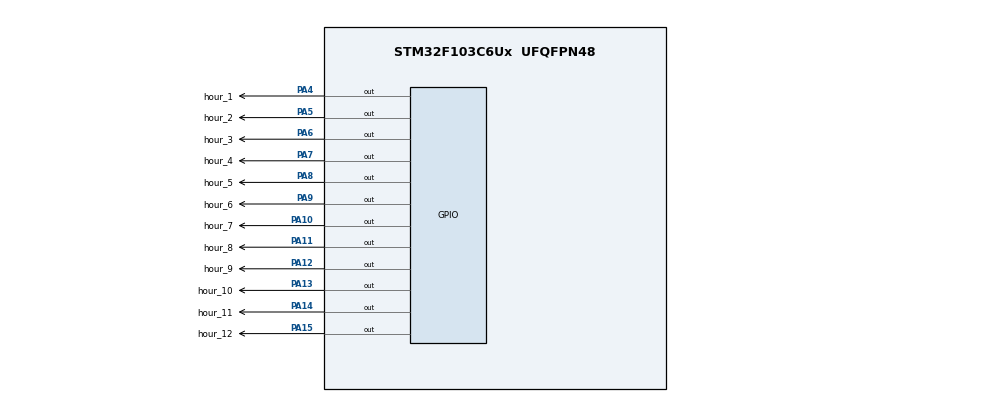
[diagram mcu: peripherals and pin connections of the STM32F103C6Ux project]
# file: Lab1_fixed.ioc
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Mcu.Family=STM32F1
Mcu.Name=STM32F103C6Ux
Mcu.Package=UFQFPN48
NVIC.PriorityGroup=NVIC_PRIORITYGROUP_4
PA10.GPIO_Label=hour_7
PA10.Signal=GPIO_Output
PA11.GPIO_Label=hour_8
PA11.Signal=GPIO_Output
PA12.GPIO_Label=hour_9
PA12.Signal=GPIO_Output
PA13.GPIO_Label=hour_10
PA13.Signal=GPIO_Output
PA14.GPIO_Label=hour_11
PA14.Signal=GPIO_Output
PA15.GPIO_Label=hour_12
PA15.Signal=GPIO_Output
PA4.GPIO_Label=hour_1
PA4.Signal=GPIO_Output
PA5.GPIO_Label=hour_2
PA5.Signal=GPIO_Output
PA6.GPIO_Label=hour_3
PA6.Signal=GPIO_Output
PA7.GPIO_Label=hour_4
PA7.Signal=GPIO_Output
PA8.GPIO_Label=hour_5
PA8.Signal=GPIO_Output
PA9.GPIO_Label=hour_6
PA9.Signal=GPIO_Output
ProjectManager.HeapSize=0x200
ProjectManager.StackSize=0x400
ProjectManager.TargetToolchain=STM32CubeIDE
RCC.APB1Freq_Value=8000000
RCC.APB2Freq_Value=8000000
VP_SYS_VS_ND.Mode=No_Debug
board=custom

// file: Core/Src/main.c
/* USER CODE BEGIN Header */
/**
  ******************************************************************************
  * @file           : main.c
  * @brief          : Main program body
  ******************************************************************************
  * @attention
  *
  * <h2><center>&copy; Copyright (c) 2023 STMicroelectronics.
  * All rights reserved.</center></h2>
  *
  * This software component is licensed by ST under BSD 3-Clause license,
  * the "License"; You may not use this file except in compliance with the
  * License. You may obtain a copy of the License at:
  *                        opensource.org/licenses/BSD-3-Clause
  *
  ******************************************************************************
  */
/* USER CODE END Header */
#include "main.h"

void SystemClock_Config(void);
static void MX_GPIO_Init(void);

/* USER CODE BEGIN 0 */
// Ex 8: -------------------------------------------------------------------------------------
void setNumberOnClock(int num){
	switch(num){
	case 0:
		HAL_GPIO_WritePin(GPIOA, GPIO_PIN_15, GPIO_PIN_RESET);
		break;

	case 1:
		HAL_GPIO_WritePin(GPIOA, GPIO_PIN_4, GPIO_PIN_RESET);
		break;

	case 2:
		HAL_GPIO_WritePin(GPIOA, GPIO_PIN_5, GPIO_PIN_RESET);
		break;

	case 3:
		HAL_GPIO_WritePin(GPIOA, GPIO_PIN_6, GPIO_PIN_RESET);
		break;

	case 4:
		HAL_GPIO_WritePin(GPIOA, GPIO_PIN_7, GPIO_PIN_RESET);
		break;

	case 5:
		HAL_GPIO_WritePin(GPIOA, GPIO_PIN_8, GPIO_PIN_RESET);
		break;

	case 6:
		HAL_GPIO_WritePin(GPIOA, GPIO_PIN_9, GPIO_PIN_RESET);
		break;

	case 7:
		HAL_GPIO_WritePin(GPIOA, GPIO_PIN_10, GPIO_PIN_RESET);
		break;

	case 8:
		HAL_GPIO_WritePin(GPIOA, GPIO_PIN_11, GPIO_PIN_RESET);
		break;

	case 9:
		HAL_GPIO_WritePin(GPIOA, GPIO_PIN_12, GPIO_PIN_RESET);
		break;

	case 10:
		HAL_GPIO_WritePin(GPIOA, GPIO_PIN_13, GPIO_PIN_RESET);
		break;

	case 11:
		HAL_GPIO_WritePin(GPIOA, GPIO_PIN_14, GPIO_PIN_RESET);
		break;
	}
}
// Ex 9: -------------------------------------------------------------------------------------
void clearNumberOnClock(int num){
	switch(num){
	case 0:
		HAL_GPIO_WritePin(GPIOA, GPIO_PIN_15, GPIO_PIN_SET);
		break;

	case 1:
		HAL_GPIO_WritePin(GPIOA, GPIO_PIN_4, GPIO_PIN_SET);
		break;

	case 2:
		HAL_GPIO_WritePin(GPIOA, GPIO_PIN_5, GPIO_PIN_SET);
		break;

	case 3:
		HAL_GPIO_WritePin(GPIOA, GPIO_PIN_6, GPIO_PIN_SET);
		break;

	case 4:
		HAL_GPIO_WritePin(GPIOA, GPIO_PIN_7, GPIO_PIN_SET);
		break;

	case 5:
		HAL_GPIO_WritePin(GPIOA, GPIO_PIN_8, GPIO_PIN_SET);
		break;

	case 6:
		HAL_GPIO_WritePin(GPIOA, GPIO_PIN_9, GPIO_PIN_SET);
		break;

	case 7:
		HAL_GPIO_WritePin(GPIOA, GPIO_PIN_10, GPIO_PIN_SET);
		break;

	case 8:
		HAL_GPIO_WritePin(GPIOA, GPIO_PIN_11, GPIO_PIN_SET);
		break;

	case 9:
		HAL_GPIO_WritePin(GPIOA, GPIO_PIN_12, GPIO_PIN_SET);
		break;

	case 10:
		HAL_GPIO_WritePin(GPIOA, GPIO_PIN_13, GPIO_PIN_SET);
		break;

	case 11:
		HAL_GPIO_WritePin(GPIOA, GPIO_PIN_14, GPIO_PIN_SET);
		break;
	}
}

void clearAllClock(){
	HAL_GPIO_WritePin(GPIOA, GPIO_PIN_4, GPIO_PIN_SET);
	HAL_GPIO_WritePin(GPIOA, GPIO_PIN_5, GPIO_PIN_SET);
	HAL_GPIO_WritePin(GPIOA, GPIO_PIN_6, GPIO_PIN_SET);
	HAL_GPIO_WritePin(GPIOA, GPIO_PIN_7, GPIO_PIN_SET);
	HAL_GPIO_WritePin(GPIOA, GPIO_PIN_8, GPIO_PIN_SET);
	HAL_GPIO_WritePin(GPIOA, GPIO_PIN_9, GPIO_PIN_SET);
	HAL_GPIO_WritePin(GPIOA, GPIO_PIN_10, GPIO_PIN_SET);
	HAL_GPIO_WritePin(GPIOA, GPIO_PIN_11, GPIO_PIN_SET);
	HAL_GPIO_WritePin(GPIOA, GPIO_PIN_12, GPIO_PIN_SET);
	HAL_GPIO_WritePin(GPIOA, GPIO_PIN_13, GPIO_PIN_SET);
	HAL_GPIO_WritePin(GPIOA, GPIO_PIN_14, GPIO_PIN_SET);
	HAL_GPIO_WritePin(GPIOA, GPIO_PIN_15, GPIO_PIN_SET);
}
/* USER CODE END 0 */

int main(void)
{

  /* MCU Configuration--------------------------------------------------------*/

  /* Reset of all peripherals, Initializes the Flash interface and the Systick. */
  HAL_Init();

  /* Configure the system clock */
  SystemClock_Config();

  /* Initialize all configured peripherals */
  MX_GPIO_Init();

  /* Infinite loop */
  /* USER CODE BEGIN WHILE */
  // Ex10: -------------------------------------------------------------------------------------------
  int counter_hour = 1;
  int counter_min = 30;
  int counter_sec = 0;

  clearAllClock();

  while (1)
  {
	  if (counter_sec >= 60){
		  counter_sec = 0;
		  counter_min ++;
	  }
	  if (counter_min >= 60){
		  counter_min = 0;
		  counter_hour ++;
	  }
	  if (counter_hour >= 12) counter_hour = 0;

// display (0h 00p 00s)
	  if ((counter_sec / 5 == 0) && (counter_min / 5 == 0) && counter_hour == 0){
		  clearAllClock();
		  setNumberOnClock(0);
	  }
// display second -------------------------------------------------
	  if (counter_sec % 5 == 0){
		  if (counter_sec != 0 && ((counter_min / 5) != ((counter_sec - 5) / 5))){
			  clearNumberOnClock((counter_sec - 5) / 5);
		  }
		  if ((counter_sec == 0) && (counter_min != 0) && (counter_hour != 0) && (counter_min / 5 != 11) && (counter_hour != 11)){
			  clearNumberOnClock(11);
		  }
		  setNumberOnClock(counter_sec / 5);
	  }
// display minute -------------------------------------------------
	  if (counter_min % 5 == 0){
		  if ((counter_min != 0) && ((counter_sec / 5) != ((counter_min - 5) / 5))){
			  clearNumberOnClock((counter_min - 5) / 5);
		  }
		  if ((counter_min == 0) && (counter_sec != 0) && (counter_hour != 0) && (counter_sec / 5 != 11) && (counter_hour != 11)){
			  clearNumberOnClock(11);
		  }
		  setNumberOnClock(counter_min / 5);
	  }
// display hour ------------------------------------------------
	  if ((counter_hour != 0) && ((counter_sec / 5) != (counter_hour - 1)) && ((counter_min / 5) != (counter_hour - 1))){
	  		  clearNumberOnClock(counter_hour - 1);
	  	  }
	  	  if ((counter_hour == 0) && (counter_sec != 0) && (counter_min != 0) && (counter_min / 5 != 11) && (counter_sec / 5 != 11)){
	  	      clearNumberOnClock(11);
	  	  }
	  	  setNumberOnClock(counter_hour);
// counter ++ --------------------------------------------------
	  counter_sec ++;
      HAL_Delay(100);
      /* USER CODE END WHILE */

  }
}

void SystemClock_Config(void)
{
  RCC_OscInitTypeDef RCC_OscInitStruct = {0};
  RCC_ClkInitTypeDef RCC_ClkInitStruct = {0};

  /** Initializes the RCC Oscillators according to the specified parameters
  * in the RCC_OscInitTypeDef structure.
  */
  RCC_OscInitStruct.OscillatorType = RCC_OSCILLATORTYPE_HSI;
  RCC_OscInitStruct.HSIState = RCC_HSI_ON;
  RCC_OscInitStruct.HSICalibrationValue = RCC_HSICALIBRATION_DEFAULT;
  RCC_OscInitStruct.PLL.PLLState = RCC_PLL_NONE;
  if (HAL_RCC_OscConfig(&RCC_OscInitStruct) != HAL_OK)
  {
    Error_Handler();
  }
  /** Initializes the CPU, AHB and APB buses clocks
  */
  RCC_ClkInitStruct.ClockType = RCC_CLOCKTYPE_HCLK|RCC_CLOCKTYPE_SYSCLK
                              |RCC_CLOCKTYPE_PCLK1|RCC_CLOCKTYPE_PCLK2;
  RCC_ClkInitStruct.SYSCLKSource = RCC_SYSCLKSOURCE_HSI;
  RCC_ClkInitStruct.AHBCLKDivider = RCC_SYSCLK_DIV1;
  RCC_ClkInitStruct.APB1CLKDivider = RCC_HCLK_DIV1;
  RCC_ClkInitStruct.APB2CLKDivider = RCC_HCLK_DIV1;

  if (HAL_RCC_ClockConfig(&RCC_ClkInitStruct, FLASH_LATENCY_0) != HAL_OK)
  {
    Error_Handler();
  }
}

static void MX_GPIO_Init(void)
{
  GPIO_InitTypeDef GPIO_InitStruct = {0};

  /* GPIO Ports Clock Enable */
  __HAL_RCC_GPIOA_CLK_ENABLE();

  /*Configure GPIO pin Output Level */
  HAL_GPIO_WritePin(GPIOA, hour_1_Pin|hour_2_Pin|hour_3_Pin|hour_4_Pin
                          |hour_5_Pin|hour_6_Pin|hour_7_Pin|hour_8_Pin
                          |hour_9_Pin|hour_10_Pin|hour_11_Pin|hour_12_Pin, GPIO_PIN_RESET);

  /*Configure GPIO pins : hour_1_Pin hour_2_Pin hour_3_Pin hour_4_Pin
                           hour_5_Pin hour_6_Pin hour_7_Pin hour_8_Pin
                           hour_9_Pin hour_10_Pin hour_11_Pin hour_12_Pin */
  GPIO_InitStruct.Pin = hour_1_Pin|hour_2_Pin|hour_3_Pin|hour_4_Pin
                          |hour_5_Pin|hour_6_Pin|hour_7_Pin|hour_8_Pin
                          |hour_9_Pin|hour_10_Pin|hour_11_Pin|hour_12_Pin;
  GPIO_InitStruct.Mode = GPIO_MODE_OUTPUT_PP;
  GPIO_InitStruct.Pull = GPIO_NOPULL;
  GPIO_InitStruct.Speed = GPIO_SPEED_FREQ_LOW;
  HAL_GPIO_Init(GPIOA, &GPIO_InitStruct);

}

void Error_Handler(void)
{
  __disable_irq();
  while (1)
  {
  }
}

/************************ (C) COPYRIGHT STMicroelectronics *****END OF FILE****/
